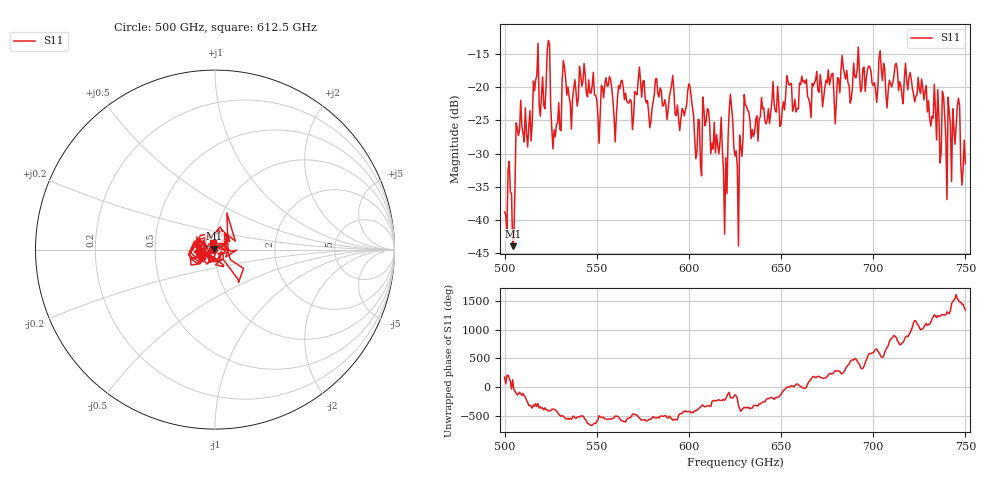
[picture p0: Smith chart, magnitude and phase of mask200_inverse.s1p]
!Created with skrf (http://scikit-rf.org).
# GHz S MA R 50.0
!freq magS11 angS11
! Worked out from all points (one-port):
!   401 points, 500 GHz to 750 GHz, reference 50 ohm
!   lowest |S11| = -43.9 dB at 504.4 GHz (marker M1), VSWR 1.01, Z = 49.6 + j0.486 ohm
!   |S11| at or under -10 dB: start of sweep to end of sweep
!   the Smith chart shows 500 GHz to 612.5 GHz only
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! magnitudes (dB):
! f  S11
! 500 GHz  -38.8
! 504.4 GHz  -43.9
! 507.5 GHz  -27.3
! 513.8 GHz  -23.5
! 516.9 GHz  -18.9
! 520.6 GHz  -18.4
! 523.8 GHz  -13.0
! 526.9 GHz  -26.4
! 531.2 GHz  -18.8
! 550.6 GHz  -24.3
! 556.2 GHz  -19.7
! 560 GHz  -28.2
! 562.5 GHz  -20.2
! 593.8 GHz  -22.7
! 600.6 GHz  -19.9
! 605.6 GHz  -25.0
! 608.8 GHz  -25.8
! 619.4 GHz  -42.1
! 622.5 GHz  -21.0
! 625 GHz  -30.3
! 627.5 GHz  -27.2
! 631.2 GHz  -22.8
! 656.2 GHz  -23.6
! 687.5 GHz  -22.4
! 718.8 GHz  -20.4
! 741.2 GHz  -23.8
! 745.6 GHz  -22.8
! 750 GHz  -31.5
